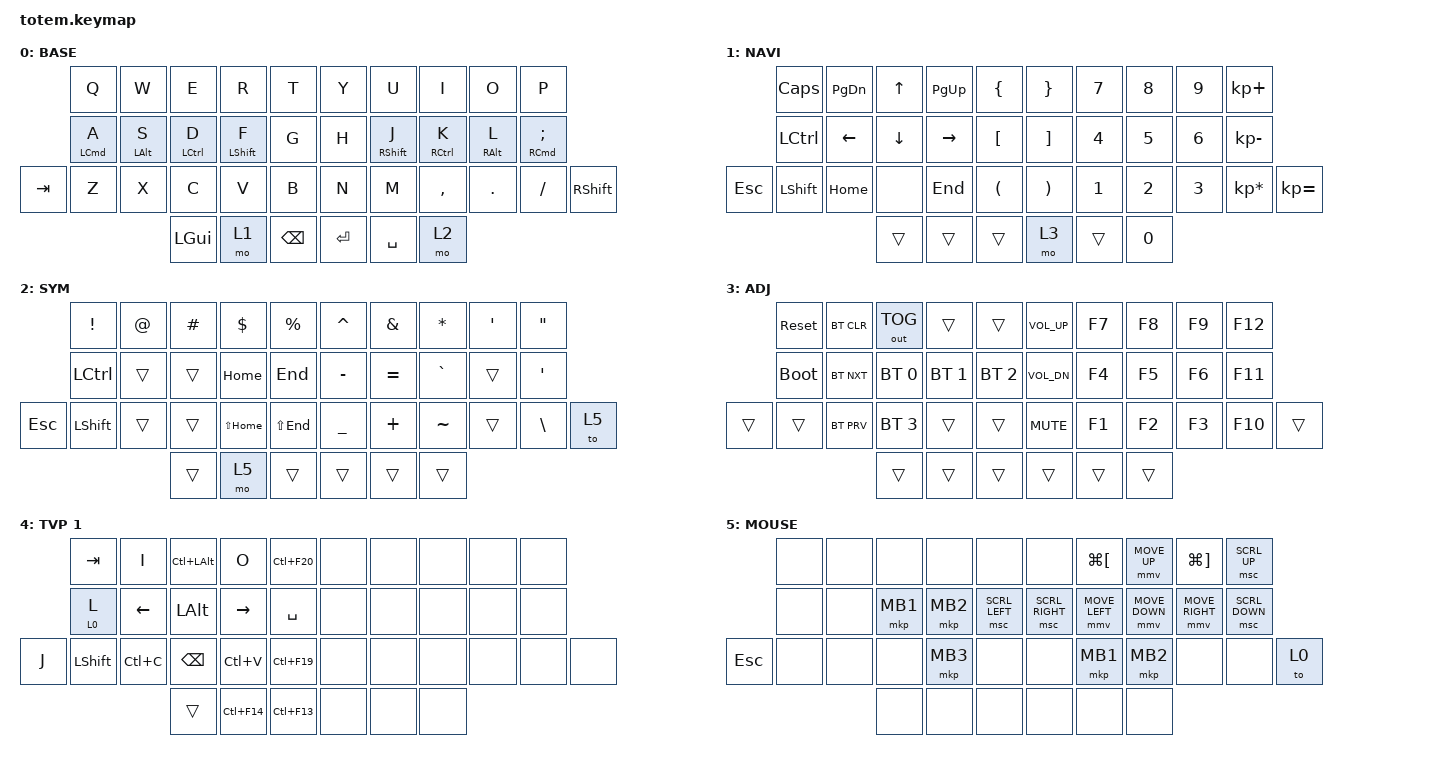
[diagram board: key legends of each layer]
//
//                                                        ▀▀▀▀▀     ▀▀▀▀▀          ▀▀█▀▀
//                                                        ▄▀▀▀▄  ▄  ▄▀▀▀▄  ▄  ▄▀▀▀▄  █  ▄▀▀▀▄
//                                                        █   █  █  █   █  █  █   █  █  █   █
//                                                         ▀▀▀   █   ▀▀▀   █   ▀▀▀   ▀   ▀▀▀
//                                                               █      ▄▄▄█▄▄▄    █   █  
//                                                               ▀      █  █  █     █▄█
//                                                             ▀▀▀▀▀    █  █  █      ▀
//                                                                      ▀  ▀  ▀
//
// ▄▄▄▄▄▄▄▄▄▄▄▄▄▄▄▄▄▄▄▄▄▄▄▄▄▄▄▄▄▄▄▄▄▄▄▄▄▄▄▄▄▄▄▄▄▄▄▄▄▄▄▄▄▄▄▄▄▄▄▄▄▄▄▄▄▄▄▄▄▄▄▄▄▄▄▄▄▄▄▄▄▄▄▄▄▄▄▄▄▄▄▄▄▄▄▄▄▄▄▄▄▄▄▄▄▄▄▄▄▄▄▄▄▄▄▄▄▄▄▄▄▄▄▄▄▄▄▄▄▄▄▄▄▄▄▄▄▄▄▄▄▄▄▄▄▄▄▄▄

#include <behaviors.dtsi>
#include <dt-bindings/zmk/bt.h>
#include <dt-bindings/zmk/keys.h>
#include <dt-bindings/zmk/outputs.h>
#include <dt-bindings/zmk/pointing.h>

#define ZMK_POINTING_DEFAULT_MOVE_VAL 1400
#define ZMK_POINTING_DEFAULT_SCRL_VAL 20
#define BASE 0
#define NAV  1
#define SYM  2
#define ADJ  3
#define TVP1 4
#define TVP2 5

&mt {
    quick-tap-ms = <100>;
    global-quick-tap;
    flavor = "tap-preferred";
    tapping-term-ms = <250>;
};

/ {
    kscan0: kscan_0 { wakeup-source; };

    combos {
        compatible = "zmk,combos";

        toggle3 {
            bindings = <&tog 3>;
            key-positions = <10 33 27>;
        };

        toggle5 {
            bindings = <&tog 0>;
            key-positions = <1 2 3>;
        };

        dash {
            bindings = <&kp MINUS>;
            key-positions = <15 16>;
        };

        understore {
            bindings = <&kp UNDERSCORE>;
            key-positions = <26 27>;
        };

        single_quote {
            bindings = <&kp SQT>;
            key-positions = <7 8>;
        };

        double_quote {
            bindings = <&kp DOUBLE_QUOTES>;
            key-positions = <8 9>;
        };

        gui_select_all {
            bindings = <&kp LC(A)>;
            key-positions = <19 10>; // RIGHT_COMMAND(;) + A
            timeout-ms = <60>;
        };

        gui_copy {
            bindings = <&kp LC(C)>;
            key-positions = <19 23>; // RIGHT_COMMAND(;) + C
            timeout-ms = <60>;
        };

        gui_paste {
            bindings = <&kp LC(V)>;
            key-positions = <19 24>; // RIGHT_COMMAND(;) + V
            timeout-ms = <60>;
        };
    };

    macros {
        gif: gif {
            label = "giphy";
            compatible = "zmk,behavior-macro";
            #binding-cells = <0>;
            bindings =
                <&macro_press>,
                <&kp LSHFT>,
                <&macro_tap>,
                <&kp N2>,
                <&macro_release>,
                <&kp LSHFT>,
                <&macro_tap>,
                <&kp G &kp I &kp F>;
        };
    };

    keymap {
        compatible = "zmk,keymap";

        // ▄▄▄▄▄▄▄▄▄▄▄▄▄▄▄▄▄▄▄▄▄▄▄▄▄▄▄▄▄▄▄▄▄▄▄▄▄▄▄▄▄▄▄▄▄▄▄▄▄▄▄▄▄▄▄▄▄▄▄▄▄▄▄▄▄▄▄▄▄▄▄▄▄▄▄▄▄▄▄▄▄▄▄▄▄▄▄▄▄▄▄▄▄▄▄▄▄▄▄▄▄▄▄▄▄▄▄▄▄▄▄▄▄▄▄▄▄▄▄▄▄▄▄▄▄▄▄▄▄▄▄▄▄▄▄▄▄▄▄▄▄▄▄▄▄▄▄▄▄

        base_layer {
            // ┏━━━━━━━━━━━━━━━━━━━━━━━━━━━━━━━━━━━━━━━┓

            label = "BASE";

            // ┗━━━━━━━━━━━━━━━━━━━━━━━━━━━━━━━━━━━━━━━┛
            //             ┏━━━━━━━━━━━┳━━━━━━━━━━━┳━━━━━━━━━━━┳━━━━━━━━━━━┳━━━━━━━━━━━┓   ┏━━━━━━━━━━━┳━━━━━━━━━━━┳━━━━━━━━━━━┳━━━━━━━━━━━┳━━━━━━━━━━━┓
            //             ┃     Q     ┃     W     ┃     F     ┃     P     ┃     G     ┃   ┃     J     ┃     L     ┃     U     ┃     Y     ┃     ;     ┃
            //             ┣━━━━━━━━━━━╋━━━━━━━━━━━╋━━━━━━━━━━━╋━━━━━━━━━━━╋━━━━━━━━━━━┫   ┣━━━━━━━━━━━╋━━━━━━━━━━━╋━━━━━━━━━━━╋━━━━━━━━━━━╋━━━━━━━━━━━┫
            //             ┃     A     ┃     R     ┃     S     ┃     T     ┃     D     ┃   ┃     H     ┃     N     ┃     E     ┃     I     ┃     O     ┃
            // ┏━━━━━━━━━━━╋━━━━━━━━━━━╋━━━━━━━━━━━╋━━━━━━━━━━━╋━━━━━━━━━━━╋━━━━━━━━━━━┫   ┣━━━━━━━━━━━╋━━━━━━━━━━━╋━━━━━━━━━━━╋━━━━━━━━━━━╋━━━━━━━━━━━╋━━━━━━━━━━━┓
            // ┃     Q     ┃     Z     ┃     X     ┃     C     ┃     V     ┃     B     ┃   ┃     K     ┃     M     ┃     ,     ┃     .     ┃     /     ┃     \     ┃
            // ┗━━━━━━━━━━━┻━━━━━━━━━━━┻━━━━━━━━━━━╋━━━━━━━━━━━╋━━━━━━━━━━━╋━━━━━━━━━━━┫   ┣━━━━━━━━━━━╋━━━━━━━━━━━╋━━━━━━━━━━━╋━━━━━━━━━━━┻━━━━━━━━━━━┻━━━━━━━━━━━┛
            //                                     ┃    DEL    ┃    TAB    ┃    SPC    ┃   ┃   ENTER   ┃           ┃   BSPC    ┃
            //                                     ┗━━━━━━━━━━━┻━━━━━━━━━━━┻━━━━━━━━━━━┛   ┗━━━━━━━━━━━┻━━━━━━━━━━━┻━━━━━━━━━━━┛

            bindings = <
         &kp Q               &kp W       &kp E         &kp R        &kp T            &kp Y    &kp U              &kp I        &kp O       &kp P
         &mt LEFT_COMMAND A  &mt LALT S  &mt LCTRL D   &mt LSHFT F  &kp G            &kp H    &mt RIGHT_SHIFT J  &mt RCTRL K  &mt RALT L  &mt RIGHT_COMMAND SEMICOLON
&kp TAB  &kp Z               &kp X       &kp C         &kp V        &kp B            &kp N    &kp M              &kp COMMA    &kp DOT     &kp FSLH                     &kp RIGHT_SHIFT
                                         &kp LEFT_GUI  &mo 1        &kp BACKSPACE    &kp RET  &kp SPACE          &mo 2
            >;
        };

        // ▄▄▄▄▄▄▄▄▄▄▄▄▄▄▄▄▄▄▄▄▄▄▄▄▄▄▄▄▄▄▄▄▄▄▄▄▄▄▄▄▄▄▄▄▄▄▄▄▄▄▄▄▄▄▄▄▄▄▄▄▄▄▄▄▄▄▄▄▄▄▄▄▄▄▄▄▄▄▄▄▄▄▄▄▄▄▄▄▄▄▄▄▄▄▄▄▄▄▄▄▄▄▄▄▄▄▄▄▄▄▄▄▄▄▄▄▄▄▄▄▄▄▄▄▄▄▄▄▄▄▄▄▄▄▄▄▄▄▄▄▄▄▄▄▄▄▄▄▄

        nav_layer {
            // ┏━━━━━━━━━━━━━━━━━━━━━━━━━━━━━━━━━━━━━━━┓

            label = "NAVI";

            // ┗━━━━━━━━━━━━━━━━━━━━━━━━━━━━━━━━━━━━━━━┛
            //             ┏━━━━━━━━━━━┳━━━━━━━━━━━┳━━━━━━━━━━━┳━━━━━━━━━━━┳━━━━━━━━━━━┓   ┏━━━━━━━━━━━┳━━━━━━━━━━━┳━━━━━━━━━━━┳━━━━━━━━━━━┳━━━━━━━━━━━┓
            //             ┃           ┃           ┃     UP    ┃           ┃     {     ┃   ┃     }     ┃     7     ┃     8     ┃     9     ┃     +     ┃
            //             ┣━━━━━━━━━━━╋━━━━━━━━━━━╋━━━━━━━━━━━╋━━━━━━━━━━━╋━━━━━━━━━━━┫   ┣━━━━━━━━━━━╋━━━━━━━━━━━╋━━━━━━━━━━━╋━━━━━━━━━━━╋━━━━━━━━━━━┫
            //             ┃   SHIFT   ┃   LEFT    ┃    DOWN   ┃   RIGHT   ┃     [     ┃   ┃     ]     ┃     4     ┃     5     ┃     6     ┃     -     ┃
            // ┏━━━━━━━━━━━╋━━━━━━━━━━━╋━━━━━━━━━━━╋━━━━━━━━━━━╋━━━━━━━━━━━╋━━━━━━━━━━━┫   ┣━━━━━━━━━━━╋━━━━━━━━━━━╋━━━━━━━━━━━╋━━━━━━━━━━━╋━━━━━━━━━━━╋━━━━━━━━━━━┓
            // ┃           ┃           ┃   P UP    ┃  C LOCK   ┃  P DOWN   ┃     (     ┃   ┃     )     ┃     1     ┃     2     ┃     3     ┃     *     ┃           ┃
            // ┗━━━━━━━━━━━┻━━━━━━━━━━━┻━━━━━━━━━━━╋━━━━━━━━━━━╋━━━━━━━━━━━╋━━━━━━━━━━━┫   ┣━━━━━━━━━━━╋━━━━━━━━━━━╋━━━━━━━━━━━╋━━━━━━━━━━━┻━━━━━━━━━━━┻━━━━━━━━━━━┛
            //                                     ┃           ┃    TAB    ┃    SPC    ┃   ┃    DEL    ┃     0     ┃           ┃
            //                                     ┗━━━━━━━━━━━┻━━━━━━━━━━━┻━━━━━━━━━━━┛   ┗━━━━━━━━━━━┻━━━━━━━━━━━┻━━━━━━━━━━━┛

            bindings = <
            &kp CAPS          &kp PAGE_DOWN  &kp UP    &kp PAGE_UP  &kp LBRC    &kp RBRC  &kp N7        &kp N8        &kp NUMBER_9  &kp KP_PLUS
            &kp LEFT_CONTROL  &kp LEFT       &kp DOWN  &kp RIGHT    &kp LBKT    &kp RBKT  &kp NUMBER_4  &kp N5        &kp NUMBER_6  &kp KP_MINUS
&kp ESCAPE  &kp LEFT_SHIFT    &kp HOME       &none     &kp END      &kp LPAR    &kp RPAR  &kp NUMBER_1  &kp NUMBER_2  &kp NUMBER_3  &kp KP_MULTIPLY  &kp KP_EQUAL
                                             &trans    &trans       &trans      &mo 3     &trans        &kp N0
            >;
        };

        // ▄▄▄▄▄▄▄▄▄▄▄▄▄▄▄▄▄▄▄▄▄▄▄▄▄▄▄▄▄▄▄▄▄▄▄▄▄▄▄▄▄▄▄▄▄▄▄▄▄▄▄▄▄▄▄▄▄▄▄▄▄▄▄▄▄▄▄▄▄▄▄▄▄▄▄▄▄▄▄▄▄▄▄▄▄▄▄▄▄▄▄▄▄▄▄▄▄▄▄▄▄▄▄▄▄▄▄▄▄▄▄▄▄▄▄▄▄▄▄▄▄▄▄▄▄▄▄▄▄▄▄▄▄▄▄▄▄▄▄▄▄▄▄▄▄▄▄▄▄

        sim_layer {
            // ┏━━━━━━━━━━━━━━━━━━━━━━━━━━━━━━━━━━━━━━━┓

            label = "SYM";

            // ┗━━━━━━━━━━━━━━━━━━━━━━━━━━━━━━━━━━━━━━━┛
            //             ┏━━━━━━━━━━━┳━━━━━━━━━━━┳━━━━━━━━━━━┳━━━━━━━━━━━┳━━━━━━━━━━━┓   ┏━━━━━━━━━━━┳━━━━━━━━━━━┳━━━━━━━━━━━┳━━━━━━━━━━━┳━━━━━━━━━━━┓
            //             ┃     !     ┃     @     ┃     #     ┃     $     ┃     %     ┃   ┃     ˆ     ┃     &     ┃     Ü     ┃     '     ┃     "     ┃
            //             ┣━━━━━━━━━━━╋━━━━━━━━━━━╋━━━━━━━━━━━╋━━━━━━━━━━━╋━━━━━━━━━━━┫   ┣━━━━━━━━━━━╋━━━━━━━━━━━╋━━━━━━━━━━━╋━━━━━━━━━━━╋━━━━━━━━━━━┫
            //             ┃     Ä     ┃           ┃    SZ     ┃           ┃           ┃   ┃   MUTE    ┃   YEN     ┃   EURO    ┃  POUND    ┃     Ö     ┃
            // ┏━━━━━━━━━━━╋━━━━━━━━━━━╋━━━━━━━━━━━╋━━━━━━━━━━━╋━━━━━━━━━━━╋━━━━━━━━━━━┫   ┣━━━━━━━━━━━╋━━━━━━━━━━━╋━━━━━━━━━━━╋━━━━━━━━━━━╋━━━━━━━━━━━╋━━━━━━━━━━━┓
            // ┃           ┃  EMAIL1   ┃  EMAIL2   ┃           ┃           ┃           ┃   ┃   VOL-    ┃   VOL+    ┃   LAST    ┃   NEXT    ┃     \     ┃           ┃
            // ┗━━━━━━━━━━━┻━━━━━━━━━━━┻━━━━━━━━━━━╋━━━━━━━━━━━╋━━━━━━━━━━━╋━━━━━━━━━━━┫   ┣━━━━━━━━━━━╋━━━━━━━━━━━╋━━━━━━━━━━━╋━━━━━━━━━━━┻━━━━━━━━━━━┻━━━━━━━━━━━┛
            //                                     ┃           ┃    GIF    ┃    ADJ    ┃   ┃           ┃           ┃           ┃
            //                                     ┗━━━━━━━━━━━┻━━━━━━━━━━━┻━━━━━━━━━━━┛   ┗━━━━━━━━━━━┻━━━━━━━━━━━┻━━━━━━━━━━━┛

            bindings = <
            &kp EXCL   &kp AT  &kp HASH  &kp DLLR      &kp PRCNT      &kp CARET  &kp AMPS   &kp ASTRK  &kp SQT  &kp DOUBLE_QUOTES
            &kp LCTRL  &trans  &trans    &kp HOME      &kp END        &kp MINUS  &kp EQUAL  &kp GRAVE  &trans   &kp SQT
&kp ESCAPE  &kp LSHFT  &trans  &trans    &kp LS(HOME)  &kp LS(END)    &kp UNDER  &kp PLUS   &kp TILDE  &trans   &kp BACKSLASH      &to 5
                               &trans    &mo 5         &trans         &trans     &trans     &trans
            >;
        };

        // ▄▄▄▄▄▄▄▄▄▄▄▄▄▄▄▄▄▄▄▄▄▄▄▄▄▄▄▄▄▄▄▄▄▄▄▄▄▄▄▄▄▄▄▄▄▄▄▄▄▄▄▄▄▄▄▄▄▄▄▄▄▄▄▄▄▄▄▄▄▄▄▄▄▄▄▄▄▄▄▄▄▄▄▄▄▄▄▄▄▄▄▄▄▄▄▄▄▄▄▄▄▄▄▄▄▄▄▄▄▄▄▄▄▄▄▄▄▄▄▄▄▄▄▄▄▄▄▄▄▄▄▄▄▄▄▄▄▄▄▄▄▄▄▄▄▄▄▄▄

        adjust_layer {
            // ┏━━━━━━━━━━━━━━━━━━━━━━━━━━━━━━━━━━━━━━━┓

            label = "ADJ";

            // ┗━━━━━━━━━━━━━━━━━━━━━━━━━━━━━━━━━━━━━━━┛
            //             ┏━━━━━━━━━━━┳━━━━━━━━━━━┳━━━━━━━━━━━┳━━━━━━━━━━━┳━━━━━━━━━━━┓   ┏━━━━━━━━━━━┳━━━━━━━━━━━┳━━━━━━━━━━━┳━━━━━━━━━━━┳━━━━━━━━━━━┓
            //             ┃   RESET   ┃ BT CLEAR  ┃  OUT TOG  ┃           ┃           ┃   ┃           ┃    F7     ┃    F8     ┃    F9     ┃    F12    ┃
            //             ┣━━━━━━━━━━━╋━━━━━━━━━━━╋━━━━━━━━━━━╋━━━━━━━━━━━╋━━━━━━━━━━━┫   ┣━━━━━━━━━━━╋━━━━━━━━━━━╋━━━━━━━━━━━╋━━━━━━━━━━━╋━━━━━━━━━━━┫
            //             ┃ BOOTLOAD  ┃ BT NEXT   ┃           ┃           ┃           ┃   ┃           ┃    F4     ┃    F5     ┃    F6     ┃    F11    ┃
            // ┏━━━━━━━━━━━╋━━━━━━━━━━━╋━━━━━━━━━━━╋━━━━━━━━━━━╋━━━━━━━━━━━╋━━━━━━━━━━━┫   ┣━━━━━━━━━━━╋━━━━━━━━━━━╋━━━━━━━━━━━╋━━━━━━━━━━━╋━━━━━━━━━━━╋━━━━━━━━━━━┓
            // ┃           ┃           ┃ BT PREV   ┃           ┃           ┃           ┃   ┃           ┃    F1     ┃    F2     ┃    F3     ┃    F10    ┃           ┃
            // ┗━━━━━━━━━━━┻━━━━━━━━━━━┻━━━━━━━━━━━╋━━━━━━━━━━━╋━━━━━━━━━━━╋━━━━━━━━━━━┫   ┣━━━━━━━━━━━╋━━━━━━━━━━━╋━━━━━━━━━━━╋━━━━━━━━━━━┻━━━━━━━━━━━┻━━━━━━━━━━━┛
            //                                     ┃           ┃           ┃           ┃   ┃           ┃           ┃           ┃
            //                                     ┗━━━━━━━━━━━┻━━━━━━━━━━━┻━━━━━━━━━━━┛   ┗━━━━━━━━━━━┻━━━━━━━━━━━┻━━━━━━━━━━━┛

            bindings = <
        &sys_reset   &bt BT_CLR  &out OUT_TOG  &trans        &trans          &kp C_VOLUME_UP  &kp F7  &kp F8  &kp F9  &kp F12
        &bootloader  &bt BT_NXT  &bt BT_SEL 0  &bt BT_SEL 1  &bt BT_SEL 2    &kp C_VOL_DN     &kp F4  &kp F5  &kp F6  &kp F11
&trans  &trans       &bt BT_PRV  &bt BT_SEL 3  &trans        &trans          &kp K_MUTE       &kp F1  &kp F2  &kp F3  &kp F10  &trans
                                 &trans        &trans        &trans          &trans           &trans  &trans
            >;
        };

        // ▄▄▄▄▄▄▄▄▄▄▄▄▄▄▄▄▄▄▄▄▄▄▄▄▄▄▄▄▄▄▄▄▄▄▄▄▄▄▄▄▄▄▄▄▄▄▄▄▄▄▄▄▄▄▄▄▄▄▄▄▄▄▄▄▄▄▄▄▄▄▄▄▄▄▄▄▄▄▄▄▄▄▄▄▄▄▄▄▄▄▄▄▄▄▄▄▄▄▄▄▄▄▄▄▄▄▄▄▄▄▄▄▄▄▄▄▄▄▄▄▄▄▄▄▄▄▄▄▄▄▄▄▄▄▄▄▄▄▄▄▄▄▄▄▄▄▄▄▄

        tvp1_layer {
            // ┏━━━━━━━━━━━━━━━━━━━━━━━━━━━━━━━━━━━━━━━┓

            label = "TVP 1";

            // ┗━━━━━━━━━━━━━━━━━━━━━━━━━━━━━━━━━━━━━━━┛
            //             ┏━━━━━━━━━━━┳━━━━━━━━━━━┳━━━━━━━━━━━┳━━━━━━━━━━━┳━━━━━━━━━━━┓   ┏━━━━━━━━━━━┳━━━━━━━━━━━┳━━━━━━━━━━━┳━━━━━━━━━━━┳━━━━━━━━━━━┓
            //             ┃ NEXT FILE ┃ MARK IN   ┃ ROTATE    ┃ MARK OUT  ┃ SHOW SNAP ┃   ┃           ┃           ┃           ┃           ┃           ┃
            //             ┣━━━━━━━━━━━╋━━━━━━━━━━━╋━━━━━━━━━━━╋━━━━━━━━━━━╋━━━━━━━━━━━┫   ┣━━━━━━━━━━━╋━━━━━━━━━━━╋━━━━━━━━━━━╋━━━━━━━━━━━╋━━━━━━━━━━━┫
            //             ┃ TVP II    ┃ LEFT      ┃ PAN       ┃ RIGHT     ┃ PLAY/FLIP ┃   ┃           ┃           ┃           ┃           ┃           ┃
            // ┏━━━━━━━━━━━╋━━━━━━━━━━━╋━━━━━━━━━━━╋━━━━━━━━━━━╋━━━━━━━━━━━╋━━━━━━━━━━━┫   ┣━━━━━━━━━━━╋━━━━━━━━━━━╋━━━━━━━━━━━╋━━━━━━━━━━━╋━━━━━━━━━━━╋━━━━━━━━━━━┓
            // ┃ FULLSCR   ┃ SHIFT     ┃ COPY      ┃ DELETE    ┃ PASTE     ┃ IMG MARK  ┃   ┃           ┃           ┃           ┃           ┃           ┃           ┃
            // ┗━━━━━━━━━━━┻━━━━━━━━━━━┻━━━━━━━━━━━╋━━━━━━━━━━━╋━━━━━━━━━━━╋━━━━━━━━━━━┫   ┣━━━━━━━━━━━╋━━━━━━━━━━━╋━━━━━━━━━━━╋━━━━━━━━━━━┻━━━━━━━━━━━┻━━━━━━━━━━━┛
            //                                     ┃           ┃ UNDO/SAVE ┃  SEL/MOV  ┃   ┃           ┃           ┃           ┃
            //                                     ┗━━━━━━━━━━━┻━━━━━━━━━━━┻━━━━━━━━━━━┛   ┗━━━━━━━━━━━┻━━━━━━━━━━━┻━━━━━━━━━━━┛

            bindings = <
       &kp TAB    &kp I      &kp LC(LALT)  &kp O        &kp LC(F20)    &none  &none  &none  &none  &none
       &lt 0 L    &kp LEFT   &kp LALT      &kp RIGHT    &kp SPACE      &none  &none  &none  &none  &none
&kp J  &kp LSHFT  &kp LC(C)  &kp BSPC      &kp LC(V)    &kp LC(F19)    &none  &none  &none  &none  &none  &none
                             &trans        &kp LC(F14)  &kp LC(F13)    &none  &none  &none
            >;
        };

        // ▄▄▄▄▄▄▄▄▄▄▄▄▄▄▄▄▄▄▄▄▄▄▄▄▄▄▄▄▄▄▄▄▄▄▄▄▄▄▄▄▄▄▄▄▄▄▄▄▄▄▄▄▄▄▄▄▄▄▄▄▄▄▄▄▄▄▄▄▄▄▄▄▄▄▄▄▄▄▄▄▄▄▄▄▄▄▄▄▄▄▄▄▄▄▄▄▄▄▄▄▄▄▄▄▄▄▄▄▄▄▄▄▄▄▄▄▄▄▄▄▄▄▄▄▄▄▄▄▄▄▄▄▄▄▄▄▄▄▄▄▄▄▄▄▄▄▄▄▄

        mouse_layer {
            bindings = <
            &none  &none  &none     &none     &none             &none            &kp LG(LEFT_BRACKET)  &mmv MOVE_UP    &kp LG(RIGHT_BRACKET)  &msc SCRL_UP
            &none  &none  &mkp MB1  &mkp MB2  &msc SCRL_LEFT    &msc SCRL_RIGHT  &mmv MOVE_LEFT        &mmv MOVE_DOWN  &mmv MOVE_RIGHT        &msc SCRL_DOWN
&kp ESCAPE  &none  &none  &none     &mkp MB3  &none             &none            &mkp MB1              &mkp MB2        &none                  &none           &to 0
                          &none     &none     &none             &none            &none                 &none
            >;

            label = "MOUSE";
        };
    };
};
